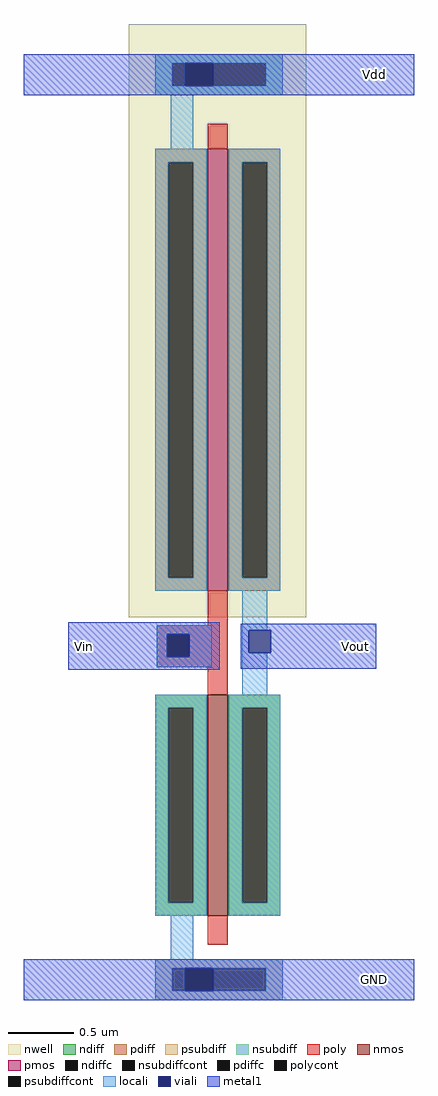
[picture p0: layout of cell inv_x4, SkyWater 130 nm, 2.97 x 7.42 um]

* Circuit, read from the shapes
.subckt inv_x4 Vdd GND Vout Vin
XM1 Vout Vin GND GND sky130_fd_pr__nfet_01v8 w=1.68 l=0.15
XM2 Vout Vin Vdd Vdd sky130_fd_pr__pfet_01v8 w=3.36 l=0.15
.ends

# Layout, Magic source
magic
tech sky130A
<< nwell >>
rect -66 -59 69 392
<< nmos >>
rect -6 -286 9 -118
<< pmos >>
rect -6 -39 9 297
<< ndiff >>
rect -46 -128 -6 -118
rect -46 -276 -36 -128
rect -17 -276 -6 -128
rect -46 -286 -6 -276
rect 9 -128 49 -118
rect 9 -276 20 -128
rect 39 -276 49 -128
rect 9 -286 49 -276
<< pdiff >>
rect -46 287 -6 297
rect -46 -29 -36 287
rect -17 -29 -6 287
rect -46 -39 -6 -29
rect 9 287 49 297
rect 9 -29 20 287
rect 39 -29 49 287
rect 9 -39 49 -29
<< ndiffc >>
rect -36 -276 -17 -128
rect 20 -276 39 -128
<< pdiffc >>
rect -36 -29 -17 287
rect 20 -29 39 287
<< psubdiff >>
rect -46 -326 51 -319
rect -46 -343 -33 -326
rect 38 -343 51 -326
rect -46 -350 51 -343
<< nsubdiff >>
rect -46 362 51 369
rect -46 345 -33 362
rect 38 345 51 362
rect -46 338 51 345
<< psubdiffcont >>
rect -33 -343 38 -326
<< nsubdiffcont >>
rect -33 345 38 362
<< poly >>
rect -6 297 9 316
rect -6 -65 9 -39
rect -45 -72 9 -65
rect -45 -89 -37 -72
rect -20 -89 9 -72
rect -45 -97 9 -89
rect -6 -118 9 -97
rect -6 -308 9 -286
<< polycont >>
rect -37 -89 -20 -72
<< locali >>
rect -46 362 51 369
rect -46 345 -33 362
rect 38 345 51 362
rect -46 338 51 345
rect -34 297 -17 338
rect -46 287 -7 297
rect -46 -29 -36 287
rect -17 -29 -7 287
rect -46 -39 -7 -29
rect 10 287 49 297
rect 10 -29 20 287
rect 39 -29 49 287
rect 10 -39 49 -29
rect -45 -72 -3 -65
rect -45 -89 -37 -72
rect -20 -89 -3 -72
rect -45 -97 -3 -89
rect 20 -69 39 -39
rect 20 -86 25 -69
rect 20 -118 39 -86
rect -46 -128 -7 -118
rect -46 -276 -36 -128
rect -17 -276 -7 -128
rect -46 -286 -7 -276
rect 10 -128 49 -118
rect 10 -276 20 -128
rect 39 -276 49 -128
rect 10 -286 49 -276
rect -34 -319 -17 -286
rect -46 -326 51 -319
rect -46 -343 -33 -326
rect 38 -343 51 -326
rect -46 -350 51 -343
<< viali >>
rect -23 345 -2 362
rect -37 -89 -20 -72
rect 25 -86 42 -69
rect -23 -343 -2 -326
<< metal1 >>
rect -146 362 151 369
rect -146 345 -23 362
rect -2 345 151 362
rect -146 338 151 345
rect -112 -72 3 -63
rect -112 -89 -37 -72
rect -20 -89 3 -72
rect -112 -99 3 -89
rect 19 -69 122 -64
rect 19 -86 25 -69
rect 42 -86 122 -69
rect 19 -98 122 -86
rect -146 -326 151 -319
rect -146 -343 -23 -326
rect -2 -343 151 -326
rect -146 -350 151 -343
<< labels >>
rlabel metal1 116 348 126 359 1 Vdd
port 1 n
rlabel metal1 116 -340 126 -329 1 GND
port 2 n
rlabel metal1 104 -84 109 -79 1 Vout
port 3 n
rlabel metal1 -102 -84 -97 -79 1 Vin
port 4 n
<< end >>
